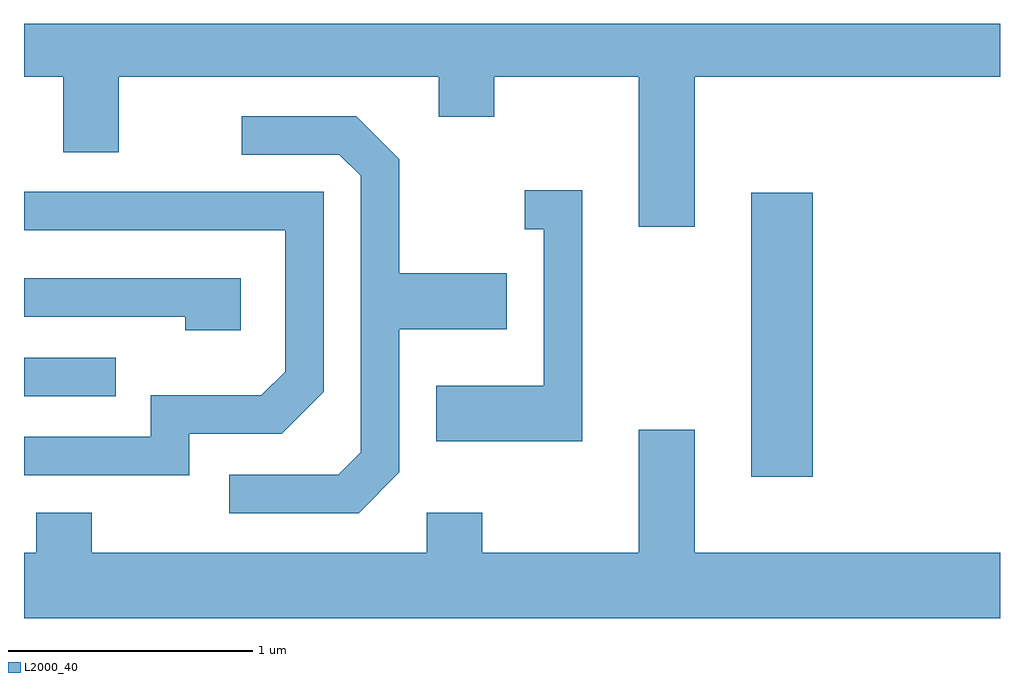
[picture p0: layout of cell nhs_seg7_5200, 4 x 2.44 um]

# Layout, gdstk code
import gdstk
lib = gdstk.Library(unit=1e-6, precision=1e-09)
def R(c, l, rs):  # rectangles x0, y0, x1, y1
    for r in rs: c.add(gdstk.rectangle(r[:2], r[2:], *l))
def P(c, l, *ps):  # polygons
    for p in ps: c.add(gdstk.Polygon(p, *l))
L2000_40 = (2000, 40)

nhs_seg7_5200 = lib.new_cell('nhs_seg7_5200')
R(nhs_seg7_5200, L2000_40, [(346.591,1770.396,346.844,1771.559), (343.611,1770.726,343.988,1770.884)])
P(nhs_seg7_5200, L2000_40, [(346.359,1772.036),(347.611,1772.036),(347.611,1772.252),(343.611,1772.252),(343.611,1772.036),(343.771,1772.036),(343.771,1771.726),(343.999,1771.726),(343.999,1772.036),(345.311,1772.036),(345.311,1771.871),(345.539,1771.871),(345.539,1772.036),(346.131,1772.036),(346.131,1771.421),(346.359,1771.421)],
  [(345.149,1770.414),(345.149,1771.001),(345.589,1771.001),(345.589,1771.229),(345.149,1771.229),(345.149,1771.697),(344.972,1771.874),(344.503,1771.874),(344.503,1771.716),(344.904,1771.716),(344.991,1771.629),(344.991,1770.497),(344.899,1770.404),(344.453,1770.404),(344.453,1770.246),(344.982,1770.246)],
  [(345.899,1771.569),(345.663,1771.569),(345.663,1771.411),(345.741,1771.411),(345.741,1770.769),(345.301,1770.769),(345.301,1770.541),(345.899,1770.541)],
  [(344.289,1770.571),(344.667,1770.571),(344.839,1770.744),(344.839,1771.564),(343.611,1771.564),(343.611,1771.406),(344.681,1771.406),(344.681,1770.827),(344.584,1770.729),(344.131,1770.729),(344.131,1770.559),(343.611,1770.559),(343.611,1770.401),(344.289,1770.401)],
  [(344.499,1771.209),(343.611,1771.209),(343.611,1771.051),(344.271,1771.051),(344.271,1770.996),(344.499,1770.996)],
  [(347.611,1770.084),(346.359,1770.084),(346.359,1770.589),(346.131,1770.589),(346.131,1770.084),(345.489,1770.084),(345.489,1770.249),(345.261,1770.249),(345.261,1770.084),(343.889,1770.084),(343.889,1770.249),(343.661,1770.249),(343.661,1770.084),(343.611,1770.084),(343.611,1769.816),(347.611,1769.816)])

lib.write_gds('nhs_seg7_5200.gds')
